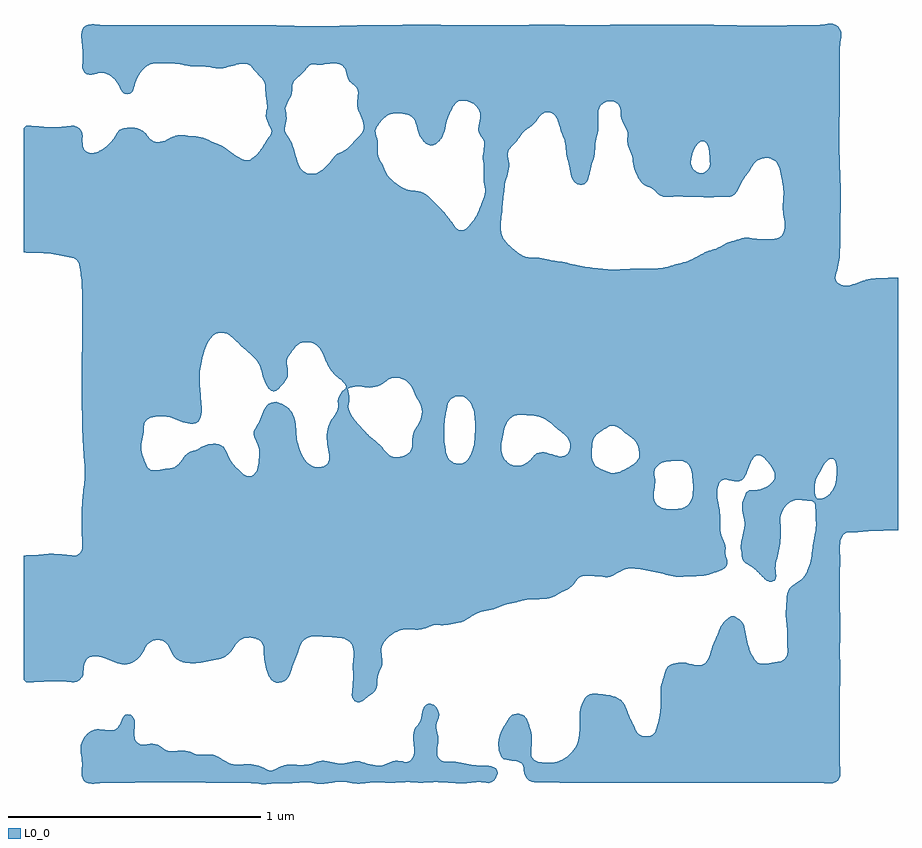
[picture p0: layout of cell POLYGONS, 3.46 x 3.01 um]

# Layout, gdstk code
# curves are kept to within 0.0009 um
import gdstk
lib = gdstk.Library(unit=1e-6, precision=1e-09)
def P(c, l, *ps):  # polygons
    for p in ps: c.add(gdstk.Polygon(p, *l))
L0_0 = (0, 0)

polygons = lib.new_cell('POLYGONS')
P(polygons, L0_0, [(-1.47,-1.501),(-1.45,-1.502),(-1.42,-1.499),(-1.39,-1.498),(-1.15,-1.496),(-1.14,-1.497),(-1.02,-1.497),(-0.95,-1.499),(-0.84,-1.499),(-0.79,-1.503),(-0.74,-1.501),(-0.68,-1.501),(-0.63,-1.497),(-0.6,-1.497),(-0.57,-1.502),(-0.54,-1.502),(-0.48,-1.494),(-0.46,-1.495),(-0.41,-1.502),(-0.34,-1.496),(-0.32,-1.496),(-0.3,-1.498),(-0.26,-1.498),(-0.21,-1.495),(-0.17,-1.498),(-0.1,-1.495),(0,-1.501),(0.07,-1.495),(0.11,-1.5),(0.12,-1.497),(0.13,-1.49),(0.14,-1.475),(0.145,-1.46),(0.144,-1.45),(0.14,-1.443),(0.13,-1.436),(0.12,-1.433),(0.11,-1.431),(0.08,-1.431),(0.05,-1.428),(0.02,-1.423),(-0.01,-1.416),(-0.06,-1.415),(-0.07,-1.414),(-0.08,-1.41),(-0.09,-1.398),(-0.093,-1.39),(-0.094,-1.38),(-0.089,-1.32),(-0.097,-1.28),(-0.097,-1.27),(-0.095,-1.26),(-0.088,-1.24),(-0.087,-1.23),(-0.088,-1.22),(-0.098,-1.2),(-0.108,-1.19),(-0.12,-1.186),(-0.13,-1.186),(-0.14,-1.192),(-0.147,-1.2),(-0.154,-1.22),(-0.157,-1.24),(-0.16,-1.25),(-0.165,-1.26),(-0.18,-1.28),(-0.184,-1.29),(-0.187,-1.3),(-0.189,-1.32),(-0.185,-1.36),(-0.185,-1.38),(-0.19,-1.4),(-0.2,-1.412),(-0.21,-1.415),(-0.22,-1.416),(-0.25,-1.412),(-0.27,-1.413),(-0.28,-1.416),(-0.3,-1.425),(-0.32,-1.43),(-0.34,-1.429),(-0.36,-1.425),(-0.39,-1.416),(-0.41,-1.413),(-0.44,-1.416),(-0.46,-1.421),(-0.48,-1.422),(-0.53,-1.413),(-0.55,-1.412),(-0.57,-1.415),(-0.6,-1.425),(-0.63,-1.428),(-0.66,-1.426),(-0.69,-1.427),(-0.71,-1.432),(-0.74,-1.447),(-0.75,-1.45),(-0.76,-1.449),(-0.8,-1.43),(-0.82,-1.426),(-0.84,-1.424),(-0.87,-1.426),(-0.9,-1.425),(-0.92,-1.419),(-0.94,-1.409),(-0.96,-1.396),(-0.97,-1.391),(-0.98,-1.388),(-1.04,-1.387),(-1.05,-1.385),(-1.07,-1.376),(-1.08,-1.373),(-1.09,-1.372),(-1.12,-1.372),(-1.15,-1.374),(-1.16,-1.372),(-1.17,-1.368),(-1.19,-1.353),(-1.2,-1.348),(-1.21,-1.345),(-1.23,-1.344),(-1.25,-1.348),(-1.26,-1.348),(-1.27,-1.346),(-1.279,-1.34),(-1.288,-1.33),(-1.291,-1.32),(-1.292,-1.31),(-1.292,-1.29),(-1.29,-1.272),(-1.291,-1.25),(-1.3,-1.235),(-1.307,-1.23),(-1.32,-1.227),(-1.33,-1.231),(-1.34,-1.244),(-1.346,-1.26),(-1.358,-1.28),(-1.37,-1.288),(-1.38,-1.29),(-1.4,-1.29),(-1.43,-1.287),(-1.45,-1.288),(-1.46,-1.292),(-1.473,-1.3),(-1.483,-1.31),(-1.497,-1.33),(-1.503,-1.35),(-1.504,-1.36),(-1.499,-1.42),(-1.501,-1.45),(-1.5,-1.471),(-1.492,-1.49),(-1.48,-1.498)],
  [(-1.499,1.477),(-1.5,1.474),(-1.501,1.47),(-1.502,1.46),(-1.502,1.45),(-1.501,1.44),(-1.5,1.43),(-1.5,1.428),(-1.499,1.42),(-1.499,1.42)],
  [(-1.499,1.072),(-1.502,1.08),(-1.51,1.09),(-1.52,1.097),(-1.53,1.1),(-1.541,1.1),(-1.59,1.095),(-1.62,1.094),(-1.68,1.099),(-1.72,1.1),(-1.73,1.09),(-1.73,0.6),(-1.68,0.599),(-1.62,0.595),(-1.544,0.58),(-1.53,0.576),(-1.52,0.57),(-1.513,0.56),(-1.509,0.55),(-1.505,0.53),(-1.501,0.49),(-1.499,0.45),(-1.499,0.21),(-1.5,0.2),(-1.499,-0.048)],
  [(-1.499,-0.393),(-1.499,-0.4),(-1.5,-0.41),(-1.5,-0.46),(-1.501,-0.47),(-1.501,-0.51),(-1.5,-0.52),(-1.5,-0.522),(-1.499,-0.53),(-1.499,-0.535)],
  [(-1.7,-1.1),(-1.61,-1.096),(-1.57,-1.097),(-1.53,-1.1),(-1.52,-1.098),(-1.51,-1.092),(-1.499,-1.08),(-1.499,-0.573),(-1.501,-0.58),(-1.51,-0.593),(-1.52,-0.598),(-1.53,-0.6),(-1.61,-0.593),(-1.63,-0.593),(-1.68,-0.598),(-1.73,-0.6),(-1.73,-1.09),(-1.72,-1.1)],
  [(-1.31,1.227),(-1.3,1.235),(-1.297,1.24),(-1.285,1.28),(-1.28,1.29),(-1.28,1.499),(-1.42,1.499),(-1.46,1.502),(-1.474,1.5),(-1.49,1.492),(-1.499,1.477),(-1.499,1.42),(-1.496,1.38),(-1.498,1.33),(-1.495,1.32),(-1.49,1.312),(-1.48,1.305),(-1.46,1.302),(-1.431,1.31),(-1.42,1.311),(-1.41,1.309),(-1.4,1.305),(-1.39,1.3),(-1.37,1.284),(-1.359,1.27),(-1.34,1.235),(-1.33,1.227),(-1.32,1.225)],
  [(-1.493,-0.19),(-1.489,-0.24),(-1.488,-0.28),(-1.489,-0.3),(-1.499,-0.39),(-1.499,-0.54),(-1.498,-0.55),(-1.499,-0.57),(-1.499,-1.08),(-1.495,-1.07),(-1.492,-1.04),(-1.487,-1.02),(-1.48,-1.01),(-1.47,-1.002),(-1.46,-0.999),(-1.45,-0.998),(-1.43,-0.999),(-1.41,-1.005),(-1.36,-1.025),(-1.342,-1.03),(-1.33,-1.031),(-1.32,-1.03),(-1.3,-1.023),(-1.28,-1.009),(-1.28,1.09),(-1.29,1.092),(-1.31,1.093),(-1.33,1.091),(-1.35,1.084),(-1.36,1.073),(-1.374,1.05),(-1.4,1.021),(-1.42,1.006),(-1.431,1),(-1.45,0.993),(-1.46,0.992),(-1.47,0.993),(-1.48,0.997),(-1.485,1),(-1.492,1.01),(-1.496,1.02),(-1.498,1.04),(-1.497,1.06),(-1.499,1.072),(-1.499,-0.07),(-1.498,-0.11)],
  [(-1.275,1.3),(-1.26,1.32),(-1.25,1.33),(-1.24,1.338),(-1.23,1.343),(-1.22,1.346),(-1.2,1.348),(-1.15,1.348),(-1.12,1.345),(-1.07,1.335),(-1.058,1.335),(-1.058,1.499),(-1.28,1.499),(-1.28,1.291)],
  [(-1.264,-0.16),(-1.256,-0.12),(-1.254,-0.09),(-1.25,-0.073),(-1.239,-0.06),(-1.23,-0.055),(-1.211,-0.05),(-1.19,-0.048),(-1.16,-0.05),(-1.14,-0.056),(-1.1,-0.072),(-1.07,-0.078),(-1.058,-0.077),(-1.058,1.06),(-1.09,1.062),(-1.13,1.061),(-1.14,1.058),(-1.17,1.042),(-1.18,1.039),(-1.2,1.036),(-1.22,1.041),(-1.23,1.048),(-1.25,1.073),(-1.26,1.081),(-1.28,1.09),(-1.28,-0.17),(-1.265,-0.17)],
  [(-1.058,-0.184),(-1.074,-0.19),(-1.087,-0.2),(-1.096,-0.21),(-1.11,-0.23),(-1.12,-0.241),(-1.132,-0.25),(-1.15,-0.255),(-1.18,-0.258),(-1.2,-0.262),(-1.22,-0.263),(-1.23,-0.26),(-1.24,-0.25),(-1.245,-0.24),(-1.263,-0.19),(-1.265,-0.18),(-1.265,-0.17),(-1.28,-0.17),(-1.28,-0.36),(-1.058,-0.36)],
  [(-1.27,-0.999),(-1.256,-0.98),(-1.246,-0.96),(-1.24,-0.951),(-1.23,-0.942),(-1.22,-0.937),(-1.21,-0.934),(-1.2,-0.933),(-1.19,-0.934),(-1.173,-0.94),(-1.16,-0.951),(-1.141,-0.99),(-1.134,-1),(-1.124,-1.01),(-1.1,-1.021),(-1.07,-1.025),(-1.058,-1.025),(-1.058,-0.36),(-1.28,-0.36),(-1.28,-1.009)],
  [(-0.95,1.327),(-0.93,1.33),(-0.89,1.341),(-0.86,1.346),(-0.86,1.499),(-1.058,1.499),(-1.058,1.335),(-1.03,1.336),(-1,1.333),(-0.97,1.328)],
  [(-1.05,-0.076),(-1.04,-0.07),(-1.033,-0.06),(-1.029,-0.05),(-1.027,-0.04),(-1.026,-0.01),(-1.033,0.07),(-1.034,0.12),(-1.03,0.15),(-1.021,0.19),(-1.012,0.22),(-0.998,0.25),(-0.99,0.261),(-0.98,0.271),(-0.963,0.28),(-0.95,0.282),(-0.93,0.279),(-0.92,0.275),(-0.9,0.26),(-0.86,0.22),(-0.86,0.966),(-0.88,0.975),(-0.928,1.01),(-0.95,1.024),(-1.02,1.053),(-1.05,1.06),(-1.058,1.06),(-1.058,-0.077)],
  [(-0.86,-0.279),(-0.89,-0.25),(-0.9,-0.238),(-0.918,-0.21),(-0.93,-0.183),(-0.939,-0.17),(-0.95,-0.163),(-0.96,-0.159),(-0.97,-0.158),(-1,-0.16),(-1.02,-0.167),(-1.04,-0.178),(-1.058,-0.184),(-1.058,-0.36),(-0.86,-0.36)],
  [(-1.05,-1.025),(-1.02,-1.022),(-0.958,-1.01),(-0.94,-1.004),(-0.93,-0.998),(-0.91,-0.98),(-0.902,-0.97),(-0.89,-0.95),(-0.88,-0.938),(-0.87,-0.931),(-0.86,-0.927),(-0.86,-0.36),(-1.058,-0.36),(-1.058,-1.025)],
  [(-0.75,1.07),(-0.756,1.06),(-0.77,1.042),(-0.789,1.01),(-0.81,0.984),(-0.82,0.975),(-0.84,0.965),(-0.85,0.964),(-0.86,0.966),(-0.86,0.22),(-0.825,0.19),(-0.806,0.17),(-0.795,0.15),(-0.781,0.1),(-0.77,0.076),(-0.759,0.06),(-0.75,0.052),(-0.74,0.049),(-0.73,0.052),(-0.71,0.072),(-0.71,1.497),(-0.86,1.499),(-0.86,1.346),(-0.85,1.346),(-0.836,1.34),(-0.83,1.335),(-0.789,1.29),(-0.78,1.277),(-0.777,1.27),(-0.774,1.26),(-0.774,1.24),(-0.767,1.18),(-0.767,1.17),(-0.77,1.16),(-0.772,1.14),(-0.771,1.13),(-0.76,1.103),(-0.752,1.09),(-0.748,1.08)],
  [(-0.71,0.001),(-0.73,0.008),(-0.74,0.007),(-0.75,0.005),(-0.76,0),(-0.77,-0.008),(-0.78,-0.024),(-0.798,-0.07),(-0.815,-0.1),(-0.819,-0.11),(-0.819,-0.12),(-0.817,-0.13),(-0.804,-0.16),(-0.798,-0.18),(-0.797,-0.2),(-0.799,-0.23),(-0.806,-0.26),(-0.81,-0.269),(-0.82,-0.28),(-0.83,-0.285),(-0.84,-0.286),(-0.85,-0.284),(-0.86,-0.279),(-0.86,-0.36),(-0.71,-0.36)],
  [(-0.84,-0.925),(-0.82,-0.926),(-0.8,-0.933),(-0.79,-0.94),(-0.784,-0.95),(-0.781,-0.96),(-0.781,-0.98),(-0.777,-1.02),(-0.771,-1.05),(-0.763,-1.07),(-0.75,-1.09),(-0.74,-1.098),(-0.73,-1.102),(-0.71,-1.101),(-0.71,-0.36),(-0.86,-0.36),(-0.86,-0.927),(-0.85,-0.925)],
  [(-0.698,1.09),(-0.693,1.11),(-0.69,1.13),(-0.695,1.17),(-0.688,1.19),(-0.672,1.22),(-0.669,1.23),(-0.667,1.26),(-0.66,1.278),(-0.625,1.31),(-0.61,1.329),(-0.6,1.339),(-0.59,1.343),(-0.56,1.341),(-0.547,1.342),(-0.547,1.495),(-0.65,1.495),(-0.71,1.497),(-0.71,1.08),(-0.698,1.08)],
  [(-0.704,0.08),(-0.69,0.1),(-0.686,0.11),(-0.685,0.13),(-0.689,0.16),(-0.689,0.17),(-0.687,0.18),(-0.682,0.19),(-0.66,0.219),(-0.651,0.23),(-0.64,0.239),(-0.63,0.243),(-0.62,0.245),(-0.61,0.245),(-0.59,0.242),(-0.58,0.238),(-0.57,0.232),(-0.56,0.222),(-0.547,0.2),(-0.547,0.927),(-0.55,0.924),(-0.57,0.913),(-0.59,0.91),(-0.61,0.913),(-0.623,0.92),(-0.633,0.93),(-0.64,0.942),(-0.647,0.96),(-0.665,1.02),(-0.673,1.04),(-0.68,1.052),(-0.694,1.07),(-0.698,1.08),(-0.71,1.08),(-0.71,0.072)],
  [(-0.547,-0.248),(-0.57,-0.25),(-0.58,-0.248),(-0.59,-0.244),(-0.61,-0.23),(-0.62,-0.217),(-0.634,-0.19),(-0.647,-0.15),(-0.652,-0.12),(-0.652,-0.1),(-0.654,-0.08),(-0.66,-0.052),(-0.67,-0.031),(-0.679,-0.02),(-0.7,-0.004),(-0.71,0.001),(-0.71,-0.36),(-0.547,-0.36)],
  [(-0.708,-1.1),(-0.7,-1.097),(-0.691,-1.09),(-0.68,-1.075),(-0.67,-1.05),(-0.664,-1.03),(-0.644,-0.98),(-0.638,-0.96),(-0.634,-0.95),(-0.627,-0.94),(-0.617,-0.93),(-0.594,-0.92),(-0.58,-0.918),(-0.547,-0.92),(-0.547,-0.36),(-0.71,-0.36),(-0.71,-1.101)],
  [(-0.403,1.498),(-0.49,1.495),(-0.547,1.495),(-0.547,1.342),(-0.51,1.347),(-0.49,1.346),(-0.48,1.344),(-0.471,1.34),(-0.46,1.329),(-0.456,1.32),(-0.45,1.296),(-0.444,1.28),(-0.435,1.27),(-0.422,1.26),(-0.412,1.25),(-0.408,1.24),(-0.407,1.23),(-0.411,1.19),(-0.409,1.17),(-0.403,1.153)],
  [(-0.469,0.05),(-0.48,0.034),(-0.485,0.02),(-0.487,0.01),(-0.485,-0.01),(-0.487,-0.02),(-0.497,-0.04),(-0.51,-0.058),(-0.522,-0.08),(-0.526,-0.09),(-0.53,-0.11),(-0.531,-0.14),(-0.521,-0.21),(-0.522,-0.22),(-0.525,-0.23),(-0.53,-0.238),(-0.54,-0.246),(-0.547,-0.248),(-0.547,-0.36),(-0.403,-0.36),(-0.403,-0.084),(-0.43,-0.05),(-0.44,-0.03),(-0.445,-0.01),(-0.442,0.01),(-0.442,0.03),(-0.447,0.06),(-0.44,0.064),(-0.43,0.067),(-0.403,0.07),(-0.403,1.06),(-0.44,1.019),(-0.45,1.01),(-0.47,0.998),(-0.49,0.989),(-0.5,0.98),(-0.51,0.969),(-0.523,0.95),(-0.542,0.93),(-0.547,0.927),(-0.547,0.2),(-0.525,0.15),(-0.51,0.127),(-0.5,0.116),(-0.47,0.091),(-0.453,0.07),(-0.455,0.06),(-0.46,0.059)],
  [(-0.403,-1.179),(-0.403,-0.36),(-0.547,-0.36),(-0.547,-0.92),(-0.48,-0.924),(-0.47,-0.926),(-0.457,-0.93),(-0.45,-0.934),(-0.441,-0.94),(-0.432,-0.95),(-0.428,-0.96),(-0.425,-0.98),(-0.425,-1),(-0.428,-1.03),(-0.426,-1.08),(-0.432,-1.15),(-0.43,-1.161),(-0.425,-1.17),(-0.42,-1.175),(-0.41,-1.179)],
  [(-0.403,1.06),(-0.403,0.07),(-0.36,0.065),(-0.34,0.068),(-0.32,0.075),(-0.31,0.08),(-0.29,0.095),(-0.281,0.1),(-0.27,0.103),(-0.25,0.104),(-0.24,0.102),(-0.21,0.087),(-0.21,0.848),(-0.218,0.85),(-0.24,0.861),(-0.253,0.87),(-0.28,0.891),(-0.288,0.9),(-0.294,0.91),(-0.307,0.94),(-0.319,0.96),(-0.328,0.98),(-0.33,1),(-0.329,1.01),(-0.33,1.04),(-0.338,1.07),(-0.339,1.08),(-0.336,1.09),(-0.324,1.11),(-0.306,1.13),(-0.29,1.142),(-0.28,1.146),(-0.26,1.15),(-0.23,1.149),(-0.21,1.144),(-0.21,1.5),(-0.403,1.498),(-0.403,1.153),(-0.396,1.14),(-0.388,1.12),(-0.384,1.1),(-0.384,1.09),(-0.386,1.08),(-0.393,1.07)],
  [(-0.21,-0.196),(-0.22,-0.202),(-0.24,-0.209),(-0.26,-0.21),(-0.27,-0.208),(-0.28,-0.204),(-0.29,-0.196),(-0.324,-0.16),(-0.359,-0.13),(-0.403,-0.084),(-0.403,-0.36),(-0.21,-0.36)],
  [(-0.4,-1.179),(-0.39,-1.175),(-0.35,-1.145),(-0.337,-1.13),(-0.332,-1.11),(-0.33,-1.078),(-0.324,-1.06),(-0.314,-1.04),(-0.312,-1.03),(-0.311,-1.02),(-0.315,-0.97),(-0.313,-0.96),(-0.303,-0.94),(-0.285,-0.92),(-0.26,-0.903),(-0.24,-0.895),(-0.21,-0.89),(-0.21,-0.36),(-0.403,-0.36),(-0.403,-1.179)],
  [(-0.11,1.023),(-0.1,1.028),(-0.09,1.037),(-0.079,1.05),(-0.073,1.06),(-0.065,1.08),(-0.053,1.13),(-0.034,1.17),(-0.02,1.19),(-0.02,1.499),(-0.21,1.5),(-0.21,1.144),(-0.2,1.14),(-0.19,1.132),(-0.181,1.12),(-0.168,1.07),(-0.163,1.06),(-0.15,1.041),(-0.139,1.03),(-0.13,1.025),(-0.12,1.022)],
  [(-0.191,-0.13),(-0.193,-0.17),(-0.2,-0.186),(-0.21,-0.196),(-0.21,-0.36),(-0.02,-0.36),(-0.02,-0.235),(-0.03,-0.232),(-0.04,-0.225),(-0.046,-0.22),(-0.053,-0.21),(-0.06,-0.19),(-0.065,-0.16),(-0.067,-0.13),(-0.066,-0.08),(-0.063,-0.05),(-0.055,-0.01),(-0.052,0),(-0.047,0.01),(-0.038,0.02),(-0.02,0.03),(-0.02,0.698),(-0.069,0.76),(-0.09,0.783),(-0.13,0.822),(-0.141,0.83),(-0.162,0.84),(-0.21,0.848),(-0.21,0.087),(-0.196,0.07),(-0.178,0.03),(-0.157,-0.01),(-0.154,-0.03),(-0.155,-0.04),(-0.16,-0.06),(-0.17,-0.082),(-0.186,-0.11)],
  [(-0.17,-0.892),(-0.15,-0.889),(-0.13,-0.883),(-0.11,-0.875),(-0.1,-0.874),(-0.07,-0.875),(-0.04,-0.872),(-0.02,-0.868),(-0.02,-0.36),(-0.21,-0.36),(-0.21,-0.89)],
  [(0,1.2),(0.02,1.199),(0.03,1.196),(0.05,1.187),(0.067,1.17),(0.073,1.16),(0.076,1.15),(0.077,1.13),(0.07,1.1),(0.069,1.08),(0.072,1.07),(0.086,1.05),(0.091,1.04),(0.092,1.02),(0.09,1.01),(0.087,0.97),(0.089,0.95),(0.089,0.89),(0.091,0.87),(0.095,0.85),(0.095,0.84),(0.094,0.83),(0.09,0.816),(0.069,0.76),(0.052,0.73),(0.037,0.71),(0.02,0.694),(0.01,0.688),(0,0.687),(-0.01,0.69),(-0.02,0.698),(-0.02,0.03),(0,0.031),(0.01,0.028),(0.023,0.02),(0.033,0.01),(0.045,-0.01),(0.052,-0.03),(0.055,-0.05),(0.056,-0.07),(0.056,-0.11),(0.052,-0.16),(0.047,-0.18),(0.04,-0.197),(0.026,-0.22),(0.015,-0.23),(0,-0.237),(-0.01,-0.237),(-0.02,-0.235),(-0.02,-0.36),(0.16,-0.36),(0.16,-0.183),(0.159,-0.18),(0.16,-0.16),(0.16,0.68),(0.157,0.7),(0.16,0.736),(0.16,1.498),(-0.02,1.499),(-0.02,1.19),(-0.01,1.197)],
  [(-0.01,-0.866),(0.01,-0.86),(0.059,-0.83),(0.08,-0.822),(0.12,-0.814),(0.16,-0.8),(0.16,-0.36),(-0.02,-0.36),(-0.02,-0.868)],
  [(0.16,-1.294),(0.157,-1.3),(0.151,-1.32),(0.148,-1.34),(0.15,-1.37),(0.153,-1.38),(0.16,-1.395)],
  [(0.16,0.74),(0.162,0.75),(0.164,0.78),(0.174,0.87),(0.185,0.91),(0.19,0.938),(0.19,0.95),(0.185,0.98),(0.185,0.99),(0.187,1),(0.192,1.01),(0.2,1.02),(0.22,1.04),(0.242,1.07),(0.26,1.086),(0.28,1.1),(0.28,1.5),(0.16,1.498)],
  [(0.161,-0.15),(0.174,-0.09),(0.182,-0.07),(0.19,-0.06),(0.203,-0.05),(0.22,-0.044),(0.25,-0.043),(0.28,-0.045),(0.28,0.579),(0.27,0.579),(0.25,0.584),(0.23,0.595),(0.2,0.618),(0.187,0.63),(0.171,0.65),(0.162,0.67),(0.16,0.678),(0.16,-0.157)],
  [(0.28,-0.214),(0.27,-0.225),(0.25,-0.239),(0.24,-0.243),(0.23,-0.245),(0.21,-0.244),(0.197,-0.24),(0.19,-0.236),(0.174,-0.22),(0.164,-0.2),(0.16,-0.183),(0.16,-0.36),(0.28,-0.36)],
  [(0.17,-0.796),(0.19,-0.79),(0.23,-0.781),(0.27,-0.773),(0.28,-0.773),(0.28,-0.36),(0.16,-0.36),(0.16,-0.8)],
  [(0.28,-1.397),(0.277,-1.38),(0.28,-1.334),(0.279,-1.31),(0.27,-1.27),(0.263,-1.25),(0.257,-1.24),(0.243,-1.23),(0.23,-1.226),(0.21,-1.227),(0.203,-1.23),(0.19,-1.241),(0.16,-1.294),(0.16,-1.395),(0.17,-1.405),(0.19,-1.41),(0.21,-1.412),(0.23,-1.416),(0.239,-1.42),(0.247,-1.43),(0.248,-1.45),(0.25,-1.46),(0.254,-1.47),(0.26,-1.48),(0.27,-1.49),(0.28,-1.494)],
  [(0.44,1.499),(0.28,1.5),(0.28,1.1),(0.299,1.12),(0.31,1.136),(0.32,1.146),(0.33,1.152),(0.34,1.154),(0.35,1.153),(0.36,1.15),(0.37,1.143),(0.38,1.128),(0.395,1.08),(0.408,1.05),(0.411,1.04),(0.418,0.98),(0.427,0.95),(0.434,0.91),(0.44,0.891)],
  [(0.4,-0.207),(0.39,-0.208),(0.34,-0.193),(0.32,-0.19),(0.3,-0.195),(0.293,-0.2),(0.28,-0.214),(0.28,-0.36),(0.44,-0.36),(0.44,0.553),(0.4,0.562),(0.36,0.567),(0.31,0.578),(0.28,0.579),(0.28,-0.045),(0.31,-0.05),(0.33,-0.058),(0.34,-0.064),(0.35,-0.071),(0.38,-0.098),(0.409,-0.12),(0.419,-0.13),(0.43,-0.15),(0.432,-0.16),(0.431,-0.18),(0.426,-0.19),(0.42,-0.198),(0.41,-0.204)],
  [(0.28,-0.773),(0.33,-0.771),(0.34,-0.77),(0.36,-0.765),(0.371,-0.76),(0.39,-0.748),(0.42,-0.734),(0.44,-0.719),(0.44,-0.36),(0.28,-0.36)],
  [(0.28,-1.33),(0.28,-1.32),(0.28,-1.334)],
  [(0.44,-1.375),(0.426,-1.39),(0.41,-1.402),(0.39,-1.412),(0.37,-1.417),(0.34,-1.419),(0.31,-1.416),(0.29,-1.409),(0.281,-1.4),(0.28,-1.397),(0.28,-1.494),(0.3,-1.497),(0.38,-1.497),(0.44,-1.499)],
  [(0.48,0.867),(0.49,0.871),(0.5,0.882),(0.509,0.91),(0.515,0.94),(0.526,0.97),(0.53,0.99),(0.532,1.04),(0.542,1.08),(0.543,1.09),(0.542,1.15),(0.543,1.16),(0.546,1.17),(0.551,1.18),(0.56,1.188),(0.57,1.194),(0.58,1.197),(0.59,1.198),(0.6,1.197),(0.6,1.5),(0.44,1.499),(0.44,0.891),(0.447,0.88),(0.46,0.87),(0.47,0.867)],
  [(0.518,-0.19),(0.521,-0.15),(0.524,-0.14),(0.529,-0.13),(0.537,-0.12),(0.56,-0.103),(0.58,-0.091),(0.59,-0.087),(0.6,-0.086),(0.6,0.531),(0.57,0.532),(0.5,0.541),(0.48,0.544),(0.44,0.553),(0.44,-0.2),(0.518,-0.2)],
  [(0.6,-0.273),(0.58,-0.268),(0.54,-0.251),(0.53,-0.242),(0.523,-0.23),(0.518,-0.21),(0.518,-0.2),(0.44,-0.2),(0.44,-0.36),(0.6,-0.36)],
  [(0.447,-0.71),(0.463,-0.69),(0.47,-0.685),(0.48,-0.681),(0.51,-0.679),(0.58,-0.685),(0.59,-0.684),(0.6,-0.68),(0.6,-0.36),(0.44,-0.36),(0.44,-0.719)],
  [(0.59,-1.499),(0.6,-1.499),(0.6,-1.155),(0.59,-1.152),(0.54,-1.147),(0.52,-1.147),(0.51,-1.149),(0.5,-1.154),(0.49,-1.164),(0.481,-1.18),(0.471,-1.21),(0.469,-1.23),(0.47,-1.28),(0.467,-1.31),(0.461,-1.34),(0.457,-1.35),(0.45,-1.362),(0.44,-1.375),(0.44,-1.499)],
  [(0.686,0.93),(0.689,0.92),(0.7,0.897),(0.71,0.881),(0.72,0.87),(0.762,0.848),(0.762,1.5),(0.6,1.5),(0.6,1.197),(0.61,1.194),(0.62,1.187),(0.63,1.17),(0.631,1.15),(0.634,1.13),(0.637,1.12),(0.657,1.08),(0.659,1.07),(0.657,1.04),(0.661,1.02),(0.677,0.98),(0.681,0.95)],
  [(0.762,0.534),(0.69,0.535),(0.6,0.531),(0.6,-0.086),(0.62,-0.091),(0.68,-0.137),(0.69,-0.148),(0.7,-0.166),(0.706,-0.19),(0.705,-0.21),(0.701,-0.22),(0.693,-0.23),(0.68,-0.241),(0.64,-0.263),(0.62,-0.27),(0.6,-0.273),(0.6,-0.36),(0.762,-0.36)],
  [(0.61,-0.674),(0.64,-0.658),(0.65,-0.654),(0.67,-0.65),(0.7,-0.652),(0.762,-0.664),(0.762,-0.36),(0.6,-0.36),(0.6,-0.68)],
  [(0.61,-1.499),(0.762,-1.499),(0.762,-1.305),(0.75,-1.312),(0.73,-1.315),(0.72,-1.314),(0.71,-1.311),(0.7,-1.303),(0.691,-1.29),(0.683,-1.27),(0.663,-1.23),(0.65,-1.195),(0.64,-1.179),(0.631,-1.17),(0.62,-1.163),(0.61,-1.158),(0.6,-1.155),(0.6,-1.499)],
  [(0.909,0.96),(0.914,0.983),(0.914,1.501),(0.762,1.5),(0.762,0.95),(0.909,0.95)],
  [(0.82,0.819),(0.85,0.821),(0.914,0.82),(0.914,0.937),(0.909,0.95),(0.762,0.95),(0.762,0.848),(0.78,0.83),(0.79,0.823),(0.799,0.82)],
  [(0.763,-0.35),(0.768,-0.31),(0.768,-0.3),(0.764,-0.28),(0.764,-0.27),(0.766,-0.26),(0.772,-0.25),(0.78,-0.242),(0.79,-0.235),(0.802,-0.23),(0.82,-0.226),(0.87,-0.225),(0.88,-0.227),(0.89,-0.231),(0.9,-0.24),(0.91,-0.26),(0.914,-0.277),(0.914,0.573),(0.881,0.56),(0.82,0.543),(0.79,0.537),(0.762,0.534),(0.762,-0.36)],
  [(0.87,-0.683),(0.914,-0.682),(0.914,-0.37),(0.905,-0.39),(0.896,-0.4),(0.88,-0.411),(0.87,-0.414),(0.85,-0.416),(0.82,-0.416),(0.8,-0.413),(0.78,-0.403),(0.77,-0.392),(0.764,-0.38),(0.762,-0.37),(0.762,-0.36),(0.762,-0.664),(0.78,-0.667),(0.82,-0.678),(0.84,-0.682)],
  [(0.78,-1.499),(0.914,-1.499),(0.914,-1.03),(0.89,-1.024),(0.87,-1.023),(0.84,-1.028),(0.83,-1.032),(0.82,-1.038),(0.81,-1.051),(0.798,-1.09),(0.793,-1.11),(0.79,-1.13),(0.791,-1.19),(0.788,-1.22),(0.775,-1.28),(0.77,-1.294),(0.762,-1.305),(0.762,-1.499)],
  [(0.99,0.818),(1.054,0.819),(1.054,1.498),(0.914,1.501),(0.914,0.983),(0.918,1),(0.928,1.02),(0.94,1.033),(0.95,1.039),(0.96,1.039),(0.97,1.033),(0.977,1.02),(0.98,1.01),(0.985,0.95),(0.983,0.94),(0.979,0.93),(0.97,0.92),(0.96,0.915),(0.95,0.913),(0.94,0.915),(0.928,0.92),(0.917,0.93),(0.914,0.937),(0.914,0.82)],
  [(0.92,-0.681),(0.96,-0.679),(0.98,-0.675),(1.01,-0.665),(1.03,-0.657),(1.043,-0.65),(1.052,-0.64),(1.054,-0.63),(1.053,-0.62),(1.046,-0.59),(1.047,-0.57),(1.043,-0.55),(1.03,-0.52),(1.026,-0.5),(1.025,-0.49),(1.026,-0.45),(1.022,-0.41),(1.014,-0.37),(1.013,-0.35),(1.016,-0.33),(1.02,-0.317),(1.024,-0.31),(1.03,-0.304),(1.037,-0.3),(1.05,-0.298),(1.054,-0.299),(1.054,0.637),(1.01,0.615),(0.98,0.606),(0.965,0.6),(0.914,0.573),(0.914,-0.28),(0.918,-0.32),(0.918,-0.34),(0.914,-0.37),(0.914,-0.682)],
  [(1.054,-0.851),(1.035,-0.87),(1.023,-0.89),(0.994,-0.96),(0.98,-1.003),(0.971,-1.02),(0.96,-1.029),(0.95,-1.033),(0.93,-1.033),(0.914,-1.03),(0.914,-1.499),(1.054,-1.499)],
  [(1.06,0.819),(1.07,0.821),(1.08,0.827),(1.091,0.84),(1.111,0.88),(1.14,0.92),(1.158,0.95),(1.17,0.962),(1.19,0.971),(1.2,0.972),(1.2,1.497),(1.054,1.498),(1.054,0.819)],
  [(1.1,-0.305),(1.11,-0.302),(1.12,-0.292),(1.13,-0.273),(1.15,-0.221),(1.16,-0.208),(1.17,-0.203),(1.18,-0.202),(1.19,-0.206),(1.2,-0.213),(1.2,0.651),(1.19,0.651),(1.13,0.658),(1.11,0.655),(1.054,0.637),(1.054,-0.299),(1.08,-0.306)],
  [(1.2,-0.332),(1.19,-0.336),(1.17,-0.341),(1.14,-0.342),(1.129,-0.35),(1.12,-0.369),(1.113,-0.39),(1.112,-0.41),(1.121,-0.46),(1.122,-0.48),(1.119,-0.5),(1.109,-0.54),(1.107,-0.56),(1.107,-0.57),(1.111,-0.6),(1.113,-0.61),(1.117,-0.62),(1.127,-0.63),(1.15,-0.644),(1.16,-0.652),(1.2,-0.691)],
  [(1.08,-1.499),(1.2,-1.499),(1.2,-1.028),(1.19,-1.028),(1.18,-1.026),(1.17,-1.021),(1.16,-1.01),(1.149,-0.99),(1.141,-0.97),(1.132,-0.94),(1.123,-0.89),(1.116,-0.87),(1.109,-0.86),(1.09,-0.845),(1.08,-0.839),(1.07,-0.839),(1.06,-0.845),(1.054,-0.851),(1.054,-1.499)],
  [(1.22,0.972),(1.23,0.969),(1.24,0.963),(1.25,0.953),(1.26,0.93),(1.265,0.91),(1.271,0.88),(1.276,0.84),(1.273,0.77),(1.28,0.72),(1.279,0.69),(1.276,0.68),(1.27,0.668),(1.26,0.66),(1.24,0.653),(1.22,0.651),(1.2,0.651),(1.2,-0.213),(1.22,-0.236),(1.23,-0.25),(1.239,-0.27),(1.241,-0.28),(1.24,-0.294),(1.232,-0.31),(1.222,-0.32),(1.21,-0.328),(1.2,-0.332),(1.2,-0.691),(1.21,-0.699),(1.22,-0.703),(1.23,-0.704),(1.239,-0.7),(1.245,-0.69),(1.246,-0.68),(1.243,-0.65),(1.245,-0.63),(1.253,-0.6),(1.262,-0.55),(1.265,-0.52),(1.265,-0.49),(1.262,-0.47),(1.262,-0.46),(1.263,-0.45),(1.268,-0.43),(1.279,-0.41),(1.287,-0.4),(1.3,-0.389),(1.32,-0.38),(1.33,-0.378),(1.34,-0.378),(1.35,-0.38),(1.35,1.498),(1.2,1.497),(1.2,0.972),(1.21,0.973)],
  [(1.34,-1.499),(1.35,-1.499),(1.35,-0.692),(1.34,-0.7),(1.31,-0.718),(1.3,-0.728),(1.294,-0.74),(1.29,-0.754),(1.286,-0.8),(1.285,-0.84),(1.289,-0.87),(1.29,-0.95),(1.292,-0.98),(1.29,-0.991),(1.286,-1),(1.28,-1.009),(1.26,-1.019),(1.2,-1.028),(1.2,-1.499)],
  [(1.499,1.19),(1.499,1.41),(1.5,1.42),(1.5,1.423),(1.501,1.43),(1.504,1.46),(1.503,1.47),(1.5,1.48),(1.498,1.483),(1.498,1.182)],
  [(1.499,0.6),(1.499,0.61),(1.5,0.62),(1.5,0.69),(1.501,0.7),(1.501,0.75),(1.502,0.76),(1.502,0.87),(1.501,0.88),(1.501,0.9),(1.5,0.91),(1.5,0.92),(1.499,0.93),(1.499,0.94),(1.498,0.949),(1.498,0.594)],
  [(1.499,-0.7),(1.5,-0.6),(1.498,-0.57),(1.5,-0.547),(1.501,-0.54),(1.51,-0.52),(1.52,-0.511),(1.53,-0.508),(1.54,-0.507),(1.55,-0.508),(1.57,-0.507),(1.62,-0.502),(1.68,-0.5),(1.73,-0.5),(1.73,0.5),(1.64,0.497),(1.62,0.495),(1.6,0.491),(1.54,0.469),(1.52,0.467),(1.506,0.47),(1.498,0.474),(1.498,-0.71)],
  [(1.499,-1.2),(1.499,-1.12),(1.5,-1.11),(1.5,-1.02),(1.499,-1),(1.499,-0.95),(1.5,-0.94),(1.5,-0.83),(1.499,-0.82),(1.499,-0.78),(1.498,-0.77),(1.498,-1.215)],
  [(1.5,-1.471),(1.5,-1.47),(1.501,-1.46),(1.501,-1.45),(1.5,-1.44),(1.5,-1.436),(1.499,-1.43),(1.499,-1.42),(1.498,-1.416),(1.498,-1.476)],
  [(1.47,-1.5),(1.48,-1.497),(1.49,-1.49),(1.497,-1.48),(1.498,-1.476),(1.498,-0.35),(1.463,-0.35),(1.453,-0.36),(1.44,-0.369),(1.43,-0.373),(1.42,-0.375),(1.41,-0.374),(1.406,-0.37),(1.402,-0.36),(1.4,-0.35),(1.35,-0.35),(1.35,-0.38),(1.39,-0.384),(1.399,-0.39),(1.403,-0.42),(1.405,-0.47),(1.403,-0.5),(1.393,-0.55),(1.39,-0.58),(1.381,-0.63),(1.37,-0.661),(1.36,-0.68),(1.35,-0.692),(1.35,-1.499),(1.41,-1.498),(1.45,-1.501)],
  [(1.4,-0.35),(1.399,-0.34),(1.4,-0.32),(1.404,-0.3),(1.408,-0.29),(1.43,-0.248),(1.44,-0.232),(1.45,-0.222),(1.46,-0.217),(1.47,-0.217),(1.476,-0.22),(1.48,-0.224),(1.483,-0.23),(1.486,-0.25),(1.486,-0.28),(1.483,-0.31),(1.476,-0.33),(1.471,-0.34),(1.463,-0.35),(1.498,-0.35),(1.498,0.474),(1.489,0.48),(1.483,0.49),(1.481,0.5),(1.485,0.52),(1.491,0.54),(1.498,0.58),(1.498,0.98),(1.496,1.03),(1.496,1.08),(1.498,1.14),(1.498,1.483),(1.49,1.494),(1.48,1.5),(1.47,1.503),(1.45,1.503),(1.425,1.5),(1.39,1.498),(1.35,1.498),(1.35,-0.35)])

lib.write_gds('POLYGONS.gds')
